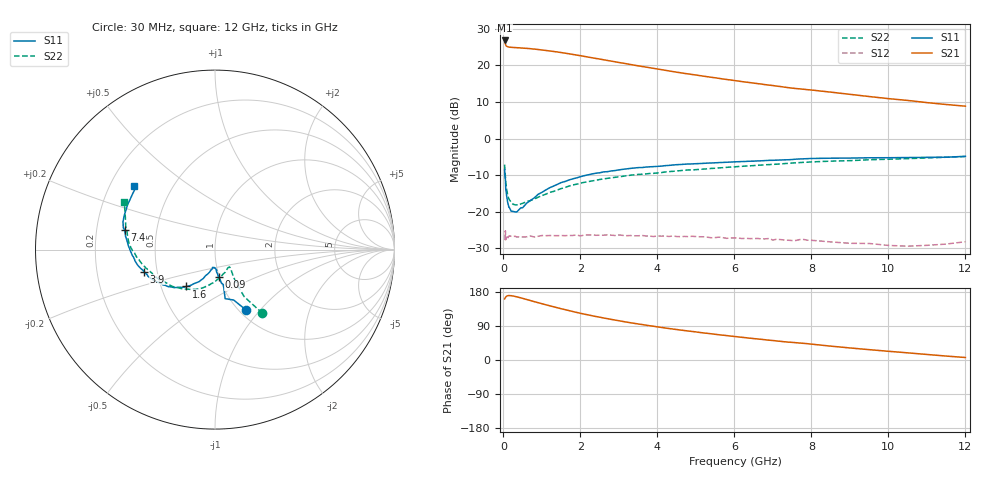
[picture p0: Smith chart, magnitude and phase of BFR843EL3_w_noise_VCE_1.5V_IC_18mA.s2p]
! Infineon Technologies  Discrete & RF Semiconductors
! BFR843EL3
! VCE =  1.5 V,  IC =  18 mA
! Common Emitter S-Parameters:  Aug 2013
# GHz  S  MA  R  50
!  f  S11  S21  S12  S22
! GHz  MAG  ANG  MAG  ANG  MAG  ANG  MAG  ANG
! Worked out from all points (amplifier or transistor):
!   103 points, 30 MHz to 12 GHz, reference 50 ohm
!   highest |S21| = 26.8 dB at 30 MHz (marker M1)
!   |S21| within 3 dB of that: start of sweep to 1.294 GHz
!   unconditionally stable (mu >= 1): 332.3 MHz to 402.8 MHz; 4.434 GHz to end of sweep
!   at 400 MHz: K = 1.00, MAG = 25.8 dB, |S12| = -26.8 dB
!   at 3.7 GHz: K = 0.95, MSG = 23.1 dB, |S12| = -26.6 dB
!   at 12 GHz: K = 2.21, MAG = 12.3 dB, |S12| = -28.2 dB
!   lowest NFmin = 1.06 dB at 450 MHz
!   S11 on the Smith chart (normalised r, x): 30 MHz: 1.07, -0.84; 90 MHz: 0.99, -0.31; 1.6 GHz: 0.67, -0.30; 3.9 GHz: 0.42, -0.12; 7.4 GHz: 0.32, +0.09; 12 GHz: 0.30, +0.32
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0.03  0.3772 -62.9  21.91 161.3  0.0412 27.9  0.4426 -53.3
0.04  0.2996 -69.7  20.41 163.0  0.0417 21.9  0.3554 -56.1
0.06  0.2003 -76.5  18.9 166.3  0.0417 7.4  0.2543 -57.8
0.09  0.1557 -82.5  18.2 168.8  0.0446 9.7  0.1936 -56.3
0.15  0.1155 -84.8  17.77 170.1  0.047 5.8  0.1478 -52.1
0.25  0.1014 -93.1  17.58 168.9  0.0459 4.4  0.1271 -50.2
0.6  0.131 -103.9  17.09 159.7  0.0456 1.6  0.138 -65.3
1  0.185 -114.3  16.24 148.5  0.0475 2.6  0.1666 -85.0
1.3  0.2246 -122.0  15.5 140.5  0.0474 2.5  0.19 -95.8
1.6  0.26 -127.8  14.7 132.9  0.0473 2.8  0.215 -104.9
2.1  0.3121 -137.2  13.27 121.1  0.0483 2.2  0.253 -118.8
2.6  0.3514 -146.1  11.95 110.9  0.048 2.3  0.2816 -129.0
3  0.3744 -151.7  10.95 103.6  0.0484 1.1  0.3011 -135.8
3.4  0.3975 -157.2  10.07 96.7  0.0471 0.0  0.3209 -142.1
3.9  0.4148 -162.8  9.112 89.0  0.046 1.0  0.3358 -148.5
4.1  0.4217 -164.8  8.759 86.0  0.0466 -0.3  0.3438 -150.2
5.1  0.4565 -174.9  7.253 72.7  0.0457 -0.2  0.3802 -160.9
6.1  0.4842 177.1  6.11 61.0  0.0438 0.4  0.4159 -169.3
7.4  0.5146 167.9  4.971 47.2  0.041 1.8  0.4601 -179.3
8.5  0.5406 159.1  4.316 36.6  0.0389 1.2  0.4925 171.6
10.5  0.5516 147.7  3.324 18.9  0.034 19.4  0.5332 159.6
12  0.5732 141.9  2.776 6.6  0.0391 29.6  0.57 152.5
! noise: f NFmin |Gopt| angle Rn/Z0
0.45  1.06  0.07  132  0.13
0.9  1.06  0.08  131  0.12
1.5  1.08  0.09  133  0.11
1.9  1.08  0.1  136  0.1
2.4  1.09  0.11  142  0.11
3.5  1.11  0.13  151  0.1
5.5  1.14  0.2  171  0.1
8  1.18  0.31  194  0.08
10  1.21  0.44  219  0.07
